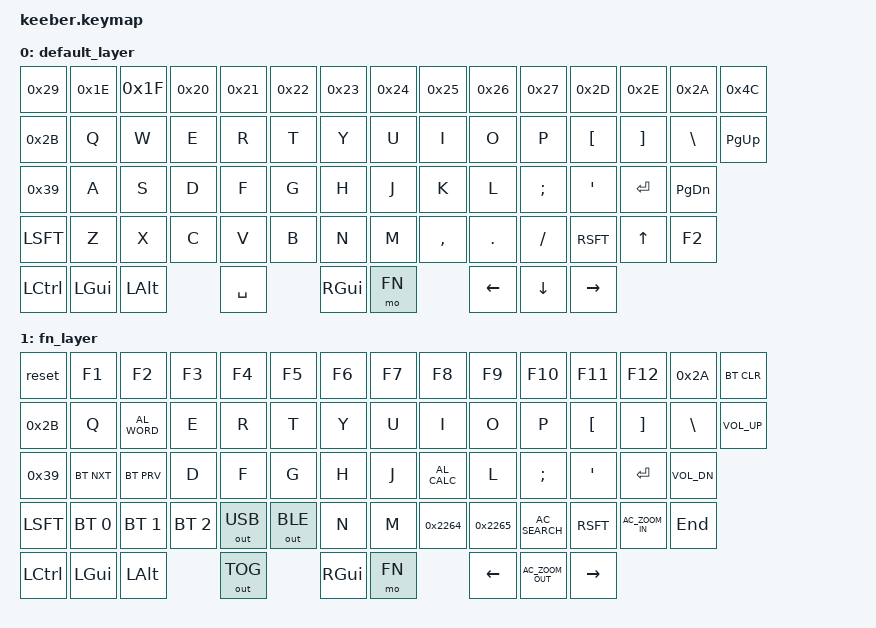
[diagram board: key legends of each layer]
#include <behaviors.dtsi>
#include <dt-bindings/zmk/keys.h>
#include <dt-bindings/zmk/bt.h>
#include <dt-bindings/zmk/outputs.h>
#include <dt-bindings/zmk/rgb.h>
#include <dt-bindings/zmk/ext_power.h>

#define DEFAULT 0
#define FN 1
/ {
	keymap {
		compatible = "zmk,keymap";
		default_layer {
// ------------------------------------------------------------------------------------------
// | ESC |  1  |  2  |  3  |  4  |  5  |  6  |  7  |  8  |  9  |  0  |  -  |  =  | BKSP |  DEL |
// |RALT/TAB| Q |  W  |  E  |  R  |  T  |  Y  |  U  |  I  |  O  |  P  |  [  |  ]  |  \  |  PGUP  |
// | CAPS  |  A  |  S  |  D  |  F  |  G  |  H  |  J  |  K  |  L  |  ;  |  '  |  ENTER  |  PGDN  |
// | SHIFT | Z |  X  |  C  |  V  |  B  |  N  |  M  |  ,  |  .  |  /  |    Shift   | UP |  END  |
// |  LCTL  |  LWIN  |  LALT  |  SPACE  |  RWIN | FN | LEFT |  DOWN  |  RIGHT  |
// ------------------------------------------------------------------------------------------- 
			bindings = <
	&kp 0x29	 &kp 0x1E 	&kp 0x1F	&kp 0x20 	&kp 0x21  &kp 0x22  &kp 0x23 	&kp 0x24 	&kp 0x25  &kp 0x26	&kp 0x27	&kp 0x2D	&kp 0x2E  	&kp 0x2A	&kp 0x4C
	&kp 0x2B     &kp   Q   	&kp   W   	&kp   E   	&kp   R   &kp   T   &kp   Y   	&kp   U   	&kp   I   &kp   O   &kp   P   	&kp LBKT 	&kp RBKT	&kp BSLH    &kp PG_UP
	&kp 0x39 	 &kp   A   	&kp   S   	&kp   D   	&kp   F   &kp   G   &kp   H   	&kp   J   	&kp   K   &kp   L   &kp  SCLN  	&kp  QUOT   &kp RET		&kp PG_DN
	&kp LSFT 	 &kp   Z   	&kp   X   	&kp   C     &kp   V   &kp   B   &kp   N   	&kp   M     &kp  CMMA &kp  DOT  &kp  FSLH	&kp RSFT 	&kp UP      &kp F2
	&kp LCTL 	 &kp LGUI   &kp LALT				&kp SPC			    &kp RGUI	&mo  FN  			  &kp  LEFT	&kp  DOWN 	&kp RIGHT			
			>;
		};
		
		fn_layer {
// Function layer
// ------------------------------------------------------------------------------------------
// | ESC |  F1  |  F2  |  F3  |  F4  |  F5  |  F6  |  F7  |  F8  |  F9  |  F10  |  -  |  =  | BKSP |  DEL |
// |RALT/TAB| Q |  W  |  E  |  R  |  T  |  Y  |  U  |  I  |  O  |  P  |  [  |  ]  |  \  |  PGUP  |
// | CAPS  |  A  |  S  |  D  |  F  |  G  |  H  |  J  |  K  |  L  |  ;  |  '  |  ENTER  |  PGDN  |
// | SHIFT | BT0 |  BT1  |  BT2  |  BTCLR  |  B  |  N  |  M  |  ,  |  .  |  /  |    Shift   | UP |  END  |
// |  LCTL  |  LWIN  |  LALT  |  Toggleoutput  |  RWIN | FN | LEFT |  DOWN  |  RIGHT  |
			bindings = <
	&reset	 &kp F1 	&kp F2	&kp F3 	&kp F4  &kp F5  &kp F6 	&kp F7 	&kp F8  &kp F9	&kp F10	&kp F11	&kp F12  	&kp 0x2A	&bt BT_CLR
	&kp 0x2B     &kp   Q   	&kp   C_AL_WORD   	&kp   E   	&kp   R   &kp   T   &kp   Y   	&kp   U   	&kp   I   &kp   O   &kp   P   	&kp LBKT 	&kp RBKT	&kp BSLH    &kp C_VOL_UP
	&kp 0x39 	 &bt   BT_NXT   	&bt   BT_PRV   	&kp   D   	&kp   F   &kp   G   &kp   H   	&kp   J   	&kp   C_AL_CALC   &kp   L   &kp  SCLN  	&kp  QUOT   &kp RET		&kp C_VOL_DN
	&kp LSFT 	 &bt   BT_SEL 0   	&bt   BT_SEL 1   	&bt  BT_SEL 2   &out  OUT_USB   &out OUT_BLE    &kp   N   	&kp   M     &kp  0x2264 &kp  0x2265  &kp  C_AC_SEARCH	&kp RSFT 	&kp C_AC_ZOOM_IN      &kp END
	&kp LCTL 	 &kp LGUI   &kp LALT				&out OUT_TOG			    &kp RGUI	&mo  FN  			  &kp  LEFT	&kp  C_AC_ZOOM_OUT 	&kp RIGHT	
			>;
		};
	};
};
